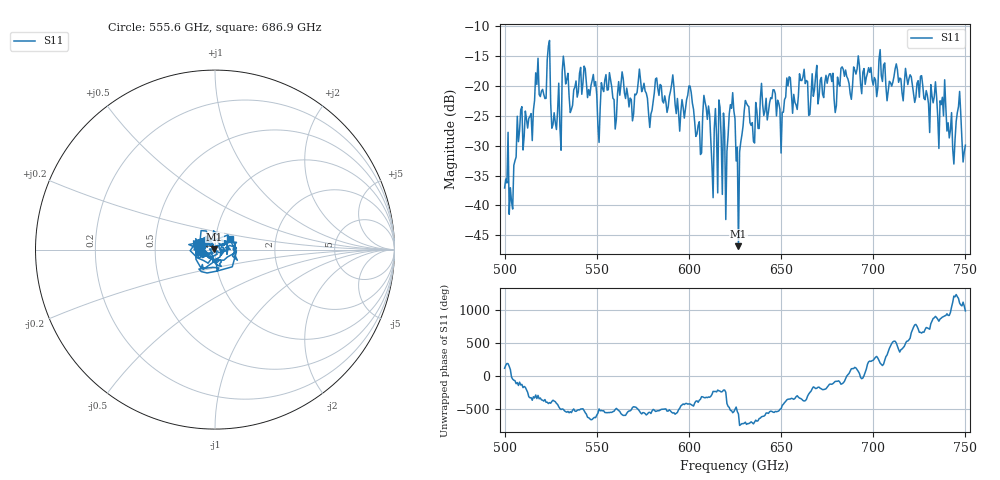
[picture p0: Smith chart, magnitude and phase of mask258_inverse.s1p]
!Created with skrf (http://scikit-rf.org).
# GHz S MA R 50.0
!freq magS11 angS11
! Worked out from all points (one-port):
!   401 points, 500 GHz to 750 GHz, reference 50 ohm
!   lowest |S11| = -46.8 dB at 626.9 GHz (marker M1), VSWR 1.01, Z = 49.7 + j0.309 ohm
!   |S11| at or under -10 dB: start of sweep to end of sweep
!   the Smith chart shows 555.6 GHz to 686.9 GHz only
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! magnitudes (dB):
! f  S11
! 500 GHz  -37.1
! 503.8 GHz  -39.3
! 508.1 GHz  -27.5
! 513.8 GHz  -25.1
! 517.5 GHz  -19.8
! 523.8 GHz  -13.3
! 526.9 GHz  -24.5
! 531.2 GHz  -17.6
! 562.5 GHz  -21.6
! 593.8 GHz  -22.1
! 600.6 GHz  -20.0
! 605.6 GHz  -26.0
! 609.4 GHz  -23.6
! 612.5 GHz  -33.3
! 617.5 GHz  -28.6
! 619.4 GHz  -27.7
! 623.1 GHz  -23.7
! 625 GHz  -25.5
! 626.9 GHz  -46.8
! 631.2 GHz  -22.9
! 634.4 GHz  -26.1
! 656.2 GHz  -24.6
! 687.5 GHz  -21.3
! 718.8 GHz  -19.8
! 738.1 GHz  -25.0
! 742.5 GHz  -24.5
! 746.2 GHz  -23.5
! 750 GHz  -29.9
